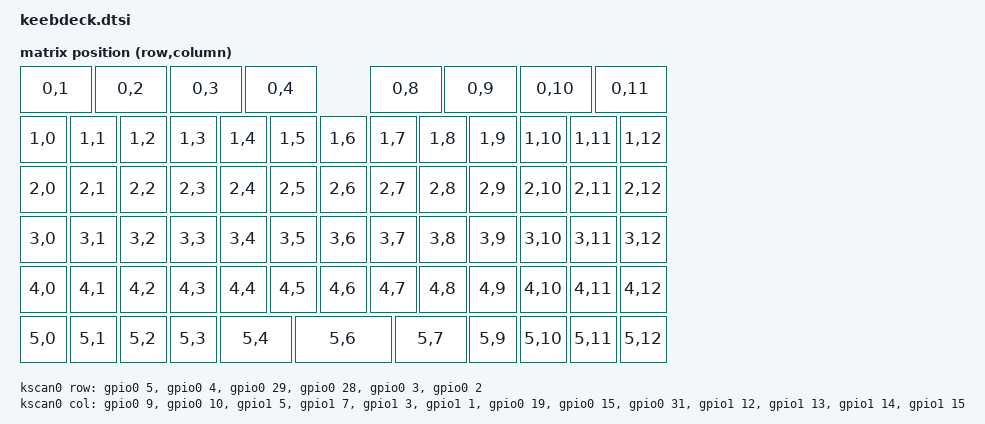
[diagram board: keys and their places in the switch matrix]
#include <input/processors.dtsi>
#include <dt-bindings/zmk/input_transform.h>
#include <dt-bindings/zmk/matrix_transform.h>
#include <physical_layouts.dtsi>


/ {
    chosen {
        zmk,kscan = &kscan0;
        zmk,physical-layout = &default_layout;
        //zmk,physical-layout = &physical_layout0;
    };

    kscan0: kscan_0 {
        compatible = "zmk,kscan-gpio-matrix";
        diode-direction = "col2row";
        wakeup-source;

        row-gpios
        = <&gpio0 5 (GPIO_ACTIVE_HIGH | GPIO_PULL_DOWN)>
        , <&gpio0 4 (GPIO_ACTIVE_HIGH | GPIO_PULL_DOWN)>
        , <&gpio0 29 (GPIO_ACTIVE_HIGH | GPIO_PULL_DOWN)>
        , <&gpio0 28 (GPIO_ACTIVE_HIGH | GPIO_PULL_DOWN)>
        , <&gpio0 3 (GPIO_ACTIVE_HIGH | GPIO_PULL_DOWN)>
        , <&gpio0 2 (GPIO_ACTIVE_HIGH | GPIO_PULL_DOWN)>
        ;

        col-gpios
        = <&gpio0 9 GPIO_ACTIVE_HIGH>
        , <&gpio0 10 GPIO_ACTIVE_HIGH>
        , <&gpio1 5 GPIO_ACTIVE_HIGH>
        , <&gpio1 7 GPIO_ACTIVE_HIGH>
        , <&gpio1 3 GPIO_ACTIVE_HIGH>
        , <&gpio1 1 GPIO_ACTIVE_HIGH>
        , <&gpio0 19 GPIO_ACTIVE_HIGH>
        , <&gpio0 15 GPIO_ACTIVE_HIGH>
        , <&gpio0 31 GPIO_ACTIVE_HIGH>
        , <&gpio1 12 GPIO_ACTIVE_HIGH>
        , <&gpio1 13 GPIO_ACTIVE_HIGH>
        , <&gpio1 14 GPIO_ACTIVE_HIGH>
        , <&gpio1 15 GPIO_ACTIVE_HIGH>
        ;
    };

    default_layout: default_layout {
        compatible = "zmk,physical-layout";
        display-name = "Default Layout";
        transform = <&default_transform>;

        keys  //                     w   h    x    y     rot    rx    ry
            = <&key_physical_attrs 150 100    0    0       0     0     0>
            , <&key_physical_attrs 150 100  150    0       0     0     0>
            , <&key_physical_attrs 150 100  300    0       0     0     0>
            , <&key_physical_attrs 150 100  450    0       0     0     0>
            , <&key_physical_attrs 150 100  700    0       0     0     0>
            , <&key_physical_attrs 150 100  850    0       0     0     0>
            , <&key_physical_attrs 150 100 1000    0       0     0     0>
            , <&key_physical_attrs 150 100 1150    0       0     0     0>
            , <&key_physical_attrs 100 100    0  100       0     0     0>
            , <&key_physical_attrs 100 100  100  100       0     0     0>
            , <&key_physical_attrs 100 100  200  100       0     0     0>
            , <&key_physical_attrs 100 100  300  100       0     0     0>
            , <&key_physical_attrs 100 100  400  100       0     0     0>
            , <&key_physical_attrs 100 100  500  100       0     0     0>
            , <&key_physical_attrs 100 100  600  100       0     0     0>
            , <&key_physical_attrs 100 100  700  100       0     0     0>
            , <&key_physical_attrs 100 100  800  100       0     0     0>
            , <&key_physical_attrs 100 100  900  100       0     0     0>
            , <&key_physical_attrs 100 100 1000  100       0     0     0>
            , <&key_physical_attrs 100 100 1100  100       0     0     0>
            , <&key_physical_attrs 100 100 1200  100       0     0     0>
            , <&key_physical_attrs 100 100    0  200       0     0     0>
            , <&key_physical_attrs 100 100  100  200       0     0     0>
            , <&key_physical_attrs 100 100  200  200       0     0     0>
            , <&key_physical_attrs 100 100  300  200       0     0     0>
            , <&key_physical_attrs 100 100  400  200       0     0     0>
            , <&key_physical_attrs 100 100  500  200       0     0     0>
            , <&key_physical_attrs 100 100  600  200       0     0     0>
            , <&key_physical_attrs 100 100  700  200       0     0     0>
            , <&key_physical_attrs 100 100  800  200       0     0     0>
            , <&key_physical_attrs 100 100  900  200       0     0     0>
            , <&key_physical_attrs 100 100 1000  200       0     0     0>
            , <&key_physical_attrs 100 100 1100  200       0     0     0>
            , <&key_physical_attrs 100 100 1200  200       0     0     0>
            , <&key_physical_attrs 100 100    0  300       0     0     0>
            , <&key_physical_attrs 100 100  100  300       0     0     0>
            , <&key_physical_attrs 100 100  200  300       0     0     0>
            , <&key_physical_attrs 100 100  300  300       0     0     0>
            , <&key_physical_attrs 100 100  400  300       0     0     0>
            , <&key_physical_attrs 100 100  500  300       0     0     0>
            , <&key_physical_attrs 100 100  600  300       0     0     0>
            , <&key_physical_attrs 100 100  700  300       0     0     0>
            , <&key_physical_attrs 100 100  800  300       0     0     0>
            , <&key_physical_attrs 100 100  900  300       0     0     0>
            , <&key_physical_attrs 100 100 1000  300       0     0     0>
            , <&key_physical_attrs 100 100 1100  300       0     0     0>
            , <&key_physical_attrs 100 100 1200  300       0     0     0>
            , <&key_physical_attrs 100 100    0  400       0     0     0>
            , <&key_physical_attrs 100 100  100  400       0     0     0>
            , <&key_physical_attrs 100 100  200  400       0     0     0>
            , <&key_physical_attrs 100 100  300  400       0     0     0>
            , <&key_physical_attrs 100 100  400  400       0     0     0>
            , <&key_physical_attrs 100 100  500  400       0     0     0>
            , <&key_physical_attrs 100 100  600  400       0     0     0>
            , <&key_physical_attrs 100 100  700  400       0     0     0>
            , <&key_physical_attrs 100 100  800  400       0     0     0>
            , <&key_physical_attrs 100 100  900  400       0     0     0>
            , <&key_physical_attrs 100 100 1000  400       0     0     0>
            , <&key_physical_attrs 100 100 1100  400       0     0     0>
            , <&key_physical_attrs 100 100 1200  400       0     0     0>
            , <&key_physical_attrs 100 100    0  500       0     0     0>
            , <&key_physical_attrs 100 100  100  500       0     0     0>
            , <&key_physical_attrs 100 100  200  500       0     0     0>
            , <&key_physical_attrs 100 100  300  500       0     0     0>
            , <&key_physical_attrs 150 100  400  500       0     0     0>
            , <&key_physical_attrs 200 100  550  500       0     0     0>
            , <&key_physical_attrs 150 100  750  500       0     0     0>
            , <&key_physical_attrs 100 100  900  500       0     0     0>
            , <&key_physical_attrs 100 100 1000  500       0     0     0>
            , <&key_physical_attrs 100 100 1100  500       0     0     0>
            , <&key_physical_attrs 100 100 1200  500       0     0     0>
            ;
    };

    default_transform: keymap_transform_0 {
        compatible = "zmk,matrix-transform";
        columns = <13>;
        rows = <6>;
        map = <
                RC(0,1) RC(0,2) RC(0,3) RC(0,4)                         RC(0,8) RC(0,9) RC(0,10) RC(0,11)
        RC(1,0) RC(1,1) RC(1,2) RC(1,3) RC(1,4) RC(1,5) RC(1,6) RC(1,7) RC(1,8) RC(1,9) RC(1,10) RC(1,11) RC(1,12)
        RC(2,0) RC(2,1) RC(2,2) RC(2,3) RC(2,4) RC(2,5) RC(2,6) RC(2,7) RC(2,8) RC(2,9) RC(2,10) RC(2,11) RC(2,12)
        RC(3,0) RC(3,1) RC(3,2) RC(3,3) RC(3,4) RC(3,5) RC(3,6) RC(3,7) RC(3,8) RC(3,9) RC(3,10) RC(3,11) RC(3,12)
        RC(4,0) RC(4,1) RC(4,2) RC(4,3) RC(4,4) RC(4,5) RC(4,6) RC(4,7) RC(4,8) RC(4,9) RC(4,10) RC(4,11) RC(4,12)
        RC(5,0) RC(5,1) RC(5,2) RC(5,3) RC(5,4)         RC(5,6) RC(5,7)         RC(5,9) RC(5,10) RC(5,11) RC(5,12)
        >;
    };
};
